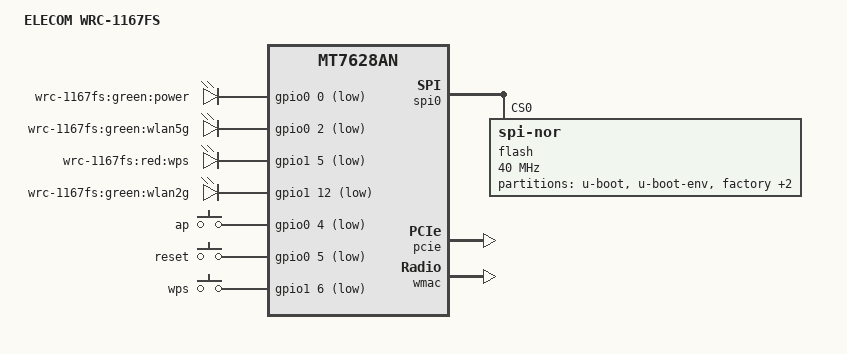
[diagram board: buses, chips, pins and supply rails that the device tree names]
// SPDX-License-Identifier: GPL-2.0-or-later OR MIT
/dts-v1/;

#include "mt7628an.dtsi"

#include <dt-bindings/gpio/gpio.h>
#include <dt-bindings/input/input.h>

/ {
	compatible = "elecom,wrc-1167fs", "mediatek,mt7628an-soc";
	model = "ELECOM WRC-1167FS";

	aliases {
		led-boot = &led_power;
		led-failsafe = &led_power;
		led-running = &led_power;
		led-upgrade = &led_power;
	};

	leds {
		compatible = "gpio-leds";

		led_power: power {
			label = "wrc-1167fs:green:power";
			gpios = <&gpio0 0 GPIO_ACTIVE_LOW>;
		};

		wlan5g {
			label = "wrc-1167fs:green:wlan5g";
			gpios = <&gpio0 2 GPIO_ACTIVE_LOW>;
			linux,default-trigger = "phy1radio";
		};

		wps {
			label = "wrc-1167fs:red:wps";
			gpios = <&gpio1 5 GPIO_ACTIVE_LOW>;
		};

		wlan2g {
			label = "wrc-1167fs:green:wlan2g";
			gpios = <&gpio1 12 GPIO_ACTIVE_LOW>;
			linux,default-trigger = "phy0radio";
		};

/*		internet {
			label = "wrc-1167fs:green:internet";
			gpios = <&gpio1 7 GPIO_ACTIVE_LOW>;
		};

		lan {
			label = "wrc-1167fs:green:lan";
			gpios = <&gpio1 8 GPIO_ACTIVE_LOW>;
		};*/
	};

	keys {
		compatible = "gpio-keys";

		ap {
			label = "ap";
			gpios = <&gpio0 4 GPIO_ACTIVE_LOW>;
			linux,code = <BTN_0>;
			linux,input-type = <EV_SW>;
		};

		reset {
			label = "reset";
			gpios = <&gpio0 5 GPIO_ACTIVE_LOW>;
			linux,code = <KEY_RESTART>;
		};

		wps {
			label = "wps";
			gpios = <&gpio1 6 GPIO_ACTIVE_LOW>;
			linux,code = <KEY_WPS_BUTTON>;
		};
	};
};

&spi0 {
	status = "okay";

	flash@0 {
		compatible = "jedec,spi-nor";
		reg = <0>;
		spi-max-frequency = <40000000>;

		partitions {
			compatible = "fixed-partitions";
			#address-cells = <1>;
			#size-cells = <1>;

			partition@0 {
				label = "u-boot";
				reg = <0x0 0x30000>;
				read-only;
			};

			partition@30000 {
				label = "u-boot-env";
				reg = <0x30000 0x10000>;
				read-only;
			};

			factory: partition@40000 {
				label = "factory";
				reg = <0x40000 0x10000>;
				read-only;
			};

			partition@50000 {
				compatible = "denx,uimage";
				label = "firmware";
				reg = <0x50000 0x730000>;
			};

			partition@780000 {
				label = "storage";
				reg = <0x780000 0x80000>;
				read-only;
			};
		};
	};
};

&ehci {
	status = "disabled";
};

&esw {
	mediatek,portmap = <0x2f>;
	mediatek,portdisable = <0x27>;
};

&ethernet {
	mtd-mac-address = <&factory 0x28>;
};

&ohci {
	status = "disabled";
};

&pcie {
	status = "okay";
};

&pcie0 {
	wifi@0,0 {
		reg = <0x0000 0 0 0 0>;
		mediatek,mtd-eeprom = <&factory 0x8000>;
		ieee80211-freq-limit = <5000000 6000000>;
	};
};

&pinctrl {
	state_default: pinctrl0 {
		gpio {
			ralink,group = "wled_an", "wdt", "refclk", "i2c", "i2s";
			ralink,function = "gpio";
		};

		p3led_an {
			ralink,group = "p3led_an";
			ralink,function = "p3led_an";
		};

		p4led_an {
			ralink,group = "p4led_an";
			ralink,function = "p4led_an";
		};
	};
};

&wmac {
	status = "okay";
};
